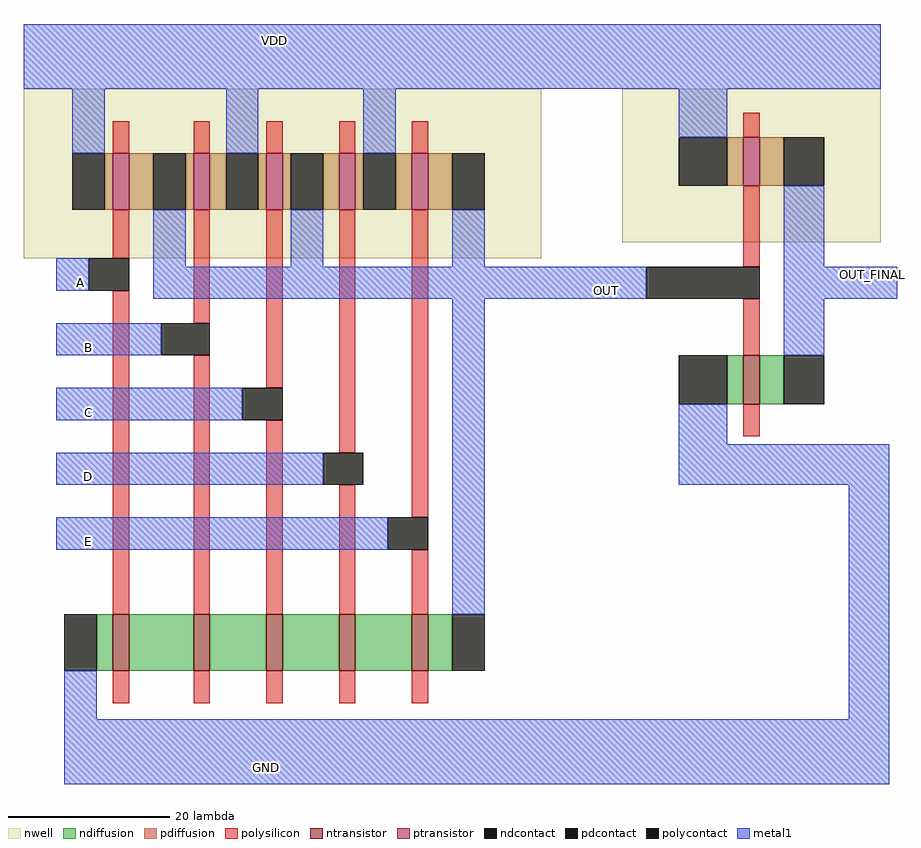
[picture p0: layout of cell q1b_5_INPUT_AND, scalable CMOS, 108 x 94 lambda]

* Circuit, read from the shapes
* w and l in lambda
.subckt q1b_5_INPUT_AND A B C D E GND OUT OUT_FINAL VDD
M1 n1 A GND VSUBS nfet w=7 l=2
M2 n2 B n1 VSUBS nfet w=7 l=2
M3 n3 C n2 VSUBS nfet w=7 l=2
M4 n4 D n3 VSUBS nfet w=7 l=2
M5 OUT E n4 VSUBS nfet w=7 l=2
M6 OUT_FINAL OUT GND VSUBS nfet w=6 l=2
M7 OUT A VDD n5 pfet w=7 l=2
M8 VDD B OUT n5 pfet w=7 l=2
M9 OUT C VDD n5 pfet w=7 l=2
M10 VDD D OUT n5 pfet w=7 l=2
M11 OUT E VDD n5 pfet w=7 l=2
M12 OUT_FINAL OUT VDD n6 pfet w=6 l=2
.ends

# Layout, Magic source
magic
tech scmos
<< nwell >>
rect -24 8 40 29
rect 50 10 82 29
<< ntransistor >>
rect 65 -10 67 -4
rect -13 -43 -11 -36
rect -3 -43 -1 -36
rect 6 -43 8 -36
rect 15 -43 17 -36
rect 24 -43 26 -36
<< ptransistor >>
rect -13 14 -11 21
rect -3 14 -1 21
rect 6 14 8 21
rect 15 14 17 21
rect 24 14 26 21
rect 65 17 67 23
<< ndiffusion >>
rect 63 -10 65 -4
rect 67 -10 70 -4
rect -15 -43 -13 -36
rect -11 -43 -3 -36
rect -1 -43 6 -36
rect 8 -43 15 -36
rect 17 -43 24 -36
rect 26 -43 29 -36
<< pdiffusion >>
rect -14 14 -13 21
rect -11 14 -8 21
rect -4 14 -3 21
rect -1 14 1 21
rect 5 14 6 21
rect 8 14 9 21
rect 13 14 15 21
rect 17 14 18 21
rect 22 14 24 21
rect 26 14 29 21
rect 63 17 65 23
rect 67 17 70 23
<< ndcontact >>
rect 57 -10 63 -4
rect 70 -10 75 -4
rect -19 -43 -15 -36
rect 29 -43 33 -36
<< pdcontact >>
rect -18 14 -14 21
rect -8 14 -4 21
rect 1 14 5 21
rect 9 14 13 21
rect 18 14 22 21
rect 29 14 33 21
rect 57 17 63 23
rect 70 17 75 23
<< polysilicon >>
rect -13 21 -11 25
rect -3 21 -1 25
rect 6 21 8 25
rect 15 21 17 25
rect 24 21 26 25
rect 65 23 67 26
rect -13 8 -11 14
rect -13 -36 -11 4
rect -3 0 -1 14
rect -3 -36 -1 -4
rect 6 -8 8 14
rect 6 -36 8 -12
rect 15 -16 17 14
rect 15 -36 17 -20
rect 24 -24 26 14
rect 65 7 67 17
rect 65 -4 67 3
rect 65 -14 67 -10
rect 24 -36 26 -28
rect -13 -47 -11 -43
rect -3 -47 -1 -43
rect 6 -47 8 -43
rect 15 -47 17 -43
rect 24 -47 26 -43
<< polycontact >>
rect -16 4 -11 8
rect -7 -4 -1 0
rect 3 -12 8 -8
rect 13 -20 18 -16
rect 53 3 67 7
rect 21 -28 26 -24
<< metal1 >>
rect -24 29 82 37
rect -18 21 -14 29
rect 1 21 5 29
rect 18 21 22 29
rect 57 23 63 29
rect -20 4 -16 8
rect -8 7 -4 14
rect 9 7 13 14
rect 29 7 33 14
rect 70 7 75 17
rect -8 3 53 7
rect 70 3 84 7
rect -20 -4 -7 0
rect -20 -12 3 -8
rect -20 -20 13 -16
rect -20 -28 21 -24
rect 29 -36 33 3
rect 70 -4 75 3
rect 57 -15 63 -10
rect 57 -20 83 -15
rect -19 -49 -15 -43
rect 78 -49 83 -20
rect -19 -57 83 -49
<< labels >>
rlabel metal1 2 34 12 36 5 VDD
rlabel metal1 43 3 53 5 1 OUT
rlabel metal1 -18 4 -16 6 1 A
rlabel metal1 -17 -4 -15 -2 1 B
rlabel metal1 -17 -12 -15 -10 1 C
rlabel metal1 -17 -20 -15 -18 1 D
rlabel metal1 -17 -28 -15 -26 1 E
rlabel metal1 3 -57 9 -53 1 GND
rlabel metal1 79 5 83 7 7 OUT_FINAL
<< end >>
